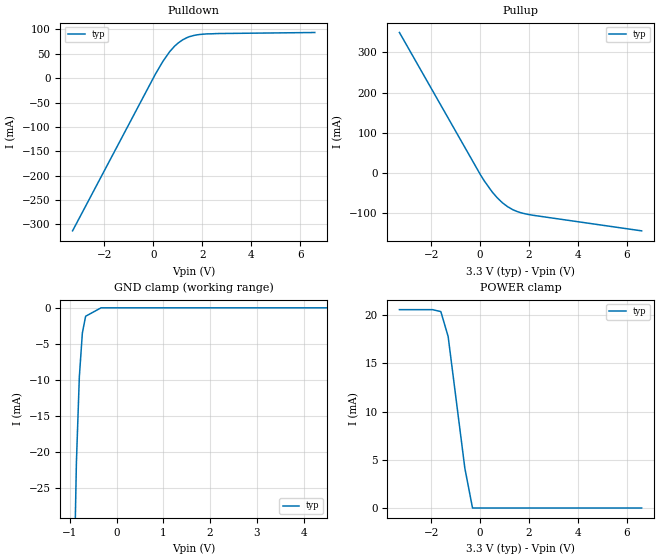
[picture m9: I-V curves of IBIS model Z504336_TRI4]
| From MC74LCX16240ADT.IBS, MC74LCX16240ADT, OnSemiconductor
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| (C) COPYRIGHT 1993-2000
| MENTOR GRAPHICS CORPORATION
| ICX STANDARD LIBRARY, ICX PROJECT MODELING,
| ICX CUSTOM MODELING, ICX VENDOR MODEL
| ALL RIGHTS RESERVED.
| THE FOLLOWING ARE TRADEMARKS OR SERVICE MARKS OF
| MENTOR GRAPHICS CORPORATION:ICX (R), ICX STANDARD
| LIBRARY(R), ICX PROJECT MODELING(R), ICX CUSTOM
| MODELING(R), qualityIBIS(TM), MODELVIEWER(TM),
| AND MODELEDITOR(TM)
| ALL COPIES OF SOFTWARE, INCLUDING BUT NOT LIMITED TO
| ANY MODIFICATIONS, ENHANCEMENTS OR DERIVATIVE WORKS,
| MUST CONTAIN ALL MENTOR GRAPHICS CORPORATION'S
| NOTICES AND LEGENDS, INCLUDING THOSE EMBEDDED IN
| SOFTWARE AND THOSE AFFIXED TO SOFTWARE MEDIUM
| AND CONTAINER, AS RECEIVED FROM MENTOR GRAPHICS
| CORPORATION.
| Model Application Version 1.89 2/18/99.
[Model] Z504336_TRI4
Model_type 3-state
Vref=0.000V
Rref=500.0ohms
Cref=50.00pF
Vmeas=1.500V
C_comp 8.000pF NA NA
| variable typ   min   max
[Voltage Range] 3.300V NA NA
[POWER Clamp Reference] 3.300V NA NA
[Pullup Reference] 3.300V NA NA
[Pulldown Reference] 0.000V NA NA
[GND Clamp Reference] 0.000V NA NA
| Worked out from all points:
|   slope of the pulldown table from 0 to 0.495 V, typ, clamps not added: 11.9 ohm
|   slope of the pullup table from 0 to 0.495 V, typ, clamps not added: 11.2 ohm
[GND Clamp]
-3.3V     -1.17A     NA         NA
-1.035V   -81.77mA   NA         NA
-859.1mV  -21.57mA   NA         NA
-795.7mV  -9.555mA   NA         NA
-731.1mV  -3.505mA   NA         NA
-661.6mV  -1.171mA   NA         NA
-330.8mV  0A         NA         NA
6.6V      0A         NA         NA
[Pulldown]
-3.3V     -313.1mA   NA         NA
78.13mV   7.513mA    NA         NA
390.7mV   34.27mA    NA         NA
666.5mV   54.06mA    NA         NA
1.025V    72.38mA    NA         NA
1.47V     84.96mA    NA         NA
2.168V    90.72mA    NA         NA
6.6V      93.58mA    NA         NA
[Pullup]
-3.3V     349.3mA    NA         NA
14mV      -4.405mA   NA         NA
487mV     -46.5mA    NA         NA
898mV     -73.16mA   NA         NA
1.337V    -91.04mA   NA         NA
1.963V    -102.7mA   NA         NA
6.6V      -143.5mA   NA         NA
[POWER Clamp]
-3.3V     20.58mA    NA         NA
-1.949V   20.58mA    NA         NA
-1.608V   20.38mA    NA         NA
-1.309V   17.79mA    NA         NA
-626mV    4.125mA    NA         NA
-313mV    0A         NA         NA
6.6V      0A         NA         NA
[Ramp]
| variable typ min max
dV/dt_r 1.959/355.8p NA NA
dV/dt_f 1.959/397.6p NA NA
R_load = 500.0Ohms
